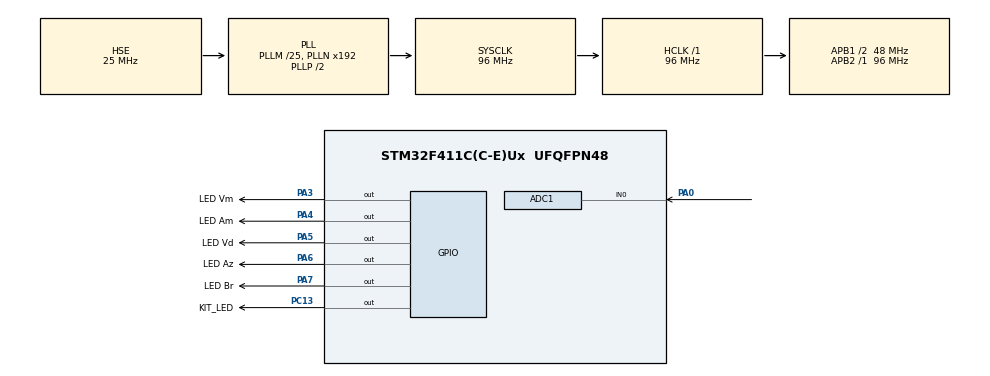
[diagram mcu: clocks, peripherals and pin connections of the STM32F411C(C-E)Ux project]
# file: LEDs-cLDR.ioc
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ADC1.Channel-1\#ChannelRegularConversion=ADC_CHANNEL_0
ADC1.NbrOfConversionFlag=1
ADC1.Rank-1\#ChannelRegularConversion=1
ADC1.SamplingTime-1\#ChannelRegularConversion=ADC_SAMPLETIME_3CYCLES
ADC1.master=1
Mcu.Family=STM32F4
Mcu.Name=STM32F411C(C-E)Ux
Mcu.Package=UFQFPN48
NVIC.PriorityGroup=NVIC_PRIORITYGROUP_4
PA0-WKUP.Signal=ADCx_IN0
PA13.Mode=Serial_Wire
PA13.Signal=SYS_JTMS-SWDIO
PA14.Mode=Serial_Wire
PA14.Signal=SYS_JTCK-SWCLK
PA3.GPIO_Label=LED Vm
PA3.Signal=GPIO_Output
PA4.GPIO_Label=LED Am
PA4.Signal=GPIO_Output
PA5.GPIO_Label=LED Vd
PA5.Signal=GPIO_Output
PA6.GPIO_Label=LED Az
PA6.Signal=GPIO_Output
PA7.GPIO_Label=LED Br
PA7.Signal=GPIO_Output
PC13-ANTI_TAMP.GPIO_Label=KIT_LED
PC13-ANTI_TAMP.Signal=GPIO_Output
PC14-OSC32_IN.Mode=LSE-External-Oscillator
PC14-OSC32_IN.Signal=RCC_OSC32_IN
PC15-OSC32_OUT.Mode=LSE-External-Oscillator
PC15-OSC32_OUT.Signal=RCC_OSC32_OUT
PH0\ -\ OSC_IN.Mode=HSE-External-Oscillator
PH0\ -\ OSC_IN.Signal=RCC_OSC_IN
PH1\ -\ OSC_OUT.Mode=HSE-External-Oscillator
PH1\ -\ OSC_OUT.Signal=RCC_OSC_OUT
ProjectManager.HeapSize=0x200
ProjectManager.StackSize=0x400
ProjectManager.TargetToolchain=Makefile
RCC.48MHZClocksFreq_Value=48000000
RCC.AHBFreq_Value=96000000
RCC.APB1CLKDivider=RCC_HCLK_DIV2
RCC.APB1Freq_Value=48000000
RCC.APB1TimFreq_Value=96000000
RCC.APB2Freq_Value=96000000
RCC.APB2TimFreq_Value=96000000
RCC.CortexFreq_Value=96000000
RCC.HCLKFreq_Value=96000000
RCC.HSE_VALUE=25000000
RCC.HSI_VALUE=16000000
RCC.PLLM=25
RCC.PLLSourceVirtual=RCC_PLLSOURCE_HSE
RCC.SYSCLKFreq_VALUE=96000000
RCC.SYSCLKSource=RCC_SYSCLKSOURCE_PLLCLK
RCC.VCOOutputFreq_Value=192000000
SH.ADCx_IN0.0=ADC1_IN0,IN0
board=custom

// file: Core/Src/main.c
/* USER CODE BEGIN Header */
/**
  ******************************************************************************
  * @file           : main.c
  * @brief          : Main program body
  ******************************************************************************
  * @attention
  *
  * Copyright (c) 2022 STMicroelectronics.
  * All rights reserved.
  *
  * This software is licensed under terms that can be found in the LICENSE file
  * in the root directory of this software component.
  * If no LICENSE file comes with this software, it is provided AS-IS.
  *
  ******************************************************************************
  */
/* USER CODE END Header */
#include "main.h"

/* USER CODE BEGIN Includes */
#include "button.h"
/* USER CODE END Includes */

ADC_HandleTypeDef hadc1;

/* USER CODE BEGIN PV */
int8_t conta_led = 0;
int16_t leitura_adc = 0;
const int8_t apaga = 0, ascende = 1, qtde_leds = 5;
const int16_t adc_min = 1191, adc_max = 1515;
/* USER CODE END PV */

void SystemClock_Config(void);
static void MX_GPIO_Init(void);
static void MX_ADC1_Init(void);

int main(void)
{

  /* MCU Configuration--------------------------------------------------------*/

  /* Reset of all peripherals, Initializes the Flash interface and the Systick. */
  HAL_Init();

  /* Configure the system clock */
  SystemClock_Config();

  /* Initialize all configured peripherals */
  MX_GPIO_Init();
  MX_ADC1_Init();

  /* Infinite loop */
  /* USER CODE BEGIN WHILE */
  while (1)
  {
    HAL_ADC_Start(&hadc1); // Inicia a conversão AD
    HAL_ADC_PollForConversion(&hadc1, 100); // Aguarda a conversão completar (timeout 100ms)
    leitura_adc = HAL_ADC_GetValue(&hadc1); // Lê o valor convertido (0-4095)

    /*
    Calculo do circuito divisor de tensão para o LDR:
    RLDR varia de ~ 35 kOhms (luz) a ~70 kOhms (escuro)
    R1= sqrt(RLDR_min*RLDR_max) = 50 kOhms
    R1 = 50 kOhms
    R_th_max = R1xRLDR/(R1+RLDR) = 20,6 kOhms
    R_th_min = R1xRHDR/(R1+RHDR) = 29,2 kOhms
    V_th_max = Vcc*R_th_max/(R_th_max+R1) = 0,96V  (considerando Vcc = 3.3V)
    V_th_min = Vcc*R_th_min/(R_th_min+R1) = 1,22V
    adc_min = 0,96*4095/3.3 = 1191
    adc_max = 1,22*4095/3.3 = 1515
    */

    // Calcula quantos LEDs devem ser acesos conforme a leitura do ADC
    conta_led = ((leitura_adc - adc_min) / (adc_max - adc_min)); // ((leitura_adc - 1191) / 324);
    // Tecnicamente a leitura permitiria ascender de 0 a 8 LEDs devida às condições de configurações iniciais,
    // Configurado em ambiente mais escuro, sem aplicar luz direta no LDR, o que limita a faixa de leitura.
    // Em resumo, ao realizar a configuração na nova instalação, mudar levemente a logica para abranger toda a faixa desejada.

    // Desliga todos os LEDs para poder atualizar (Senão permancem acesos mesmo não satisfazendo mais as condições)
    HAL_GPIO_WritePin(GPIOA, LED_Vm_Pin | LED_Am_Pin | LED_Vd_Pin | LED_Az_Pin | LED_Br_Pin, apaga);

    // Acende LEDs conforme a intensidade (de forma crescente) usando (qtde_leds - (qtde_leds_apagados-led_atual))
    // essa abordagem no entanto, implicaria em ifs de duas ou mais linhas em cada condição,
    // portanto optou-se por fazer desta forma para manter o código mais compacto e legível.
    if (conta_led >= (qtde_leds - 4)) HAL_GPIO_WritePin(GPIOA, LED_Vm_Pin, ascende);
    if (conta_led >= (qtde_leds - 3)) HAL_GPIO_WritePin(GPIOA, LED_Am_Pin, ascende);
    if (conta_led >= (qtde_leds - 2)) HAL_GPIO_WritePin(GPIOA, LED_Vd_Pin, ascende);
    if (conta_led >= (qtde_leds - 1)) HAL_GPIO_WritePin(GPIOA, LED_Az_Pin, ascende);
    if (conta_led >= (qtde_leds - 0)) HAL_GPIO_WritePin(GPIOA, LED_Br_Pin, ascende);

    HAL_Delay(50); // Faz com que a leitura seja a cada 50ms

    /* USER CODE END WHILE */

  }
}

void SystemClock_Config(void)
{
  RCC_OscInitTypeDef RCC_OscInitStruct = {0};
  RCC_ClkInitTypeDef RCC_ClkInitStruct = {0};

  /** Configure the main internal regulator output voltage
  */
  __HAL_RCC_PWR_CLK_ENABLE();
  __HAL_PWR_VOLTAGESCALING_CONFIG(PWR_REGULATOR_VOLTAGE_SCALE1);

  /** Initializes the RCC Oscillators according to the specified parameters
  * in the RCC_OscInitTypeDef structure.
  */
  RCC_OscInitStruct.OscillatorType = RCC_OSCILLATORTYPE_HSE;
  RCC_OscInitStruct.HSEState = RCC_HSE_ON;
  RCC_OscInitStruct.PLL.PLLState = RCC_PLL_ON;
  RCC_OscInitStruct.PLL.PLLSource = RCC_PLLSOURCE_HSE;
  RCC_OscInitStruct.PLL.PLLM = 25;
  RCC_OscInitStruct.PLL.PLLN = 192;
  RCC_OscInitStruct.PLL.PLLP = RCC_PLLP_DIV2;
  RCC_OscInitStruct.PLL.PLLQ = 4;
  if (HAL_RCC_OscConfig(&RCC_OscInitStruct) != HAL_OK)
  {
    Error_Handler();
  }

  /** Initializes the CPU, AHB and APB buses clocks
  */
  RCC_ClkInitStruct.ClockType = RCC_CLOCKTYPE_HCLK|RCC_CLOCKTYPE_SYSCLK
                              |RCC_CLOCKTYPE_PCLK1|RCC_CLOCKTYPE_PCLK2;
  RCC_ClkInitStruct.SYSCLKSource = RCC_SYSCLKSOURCE_PLLCLK;
  RCC_ClkInitStruct.AHBCLKDivider = RCC_SYSCLK_DIV1;
  RCC_ClkInitStruct.APB1CLKDivider = RCC_HCLK_DIV2;
  RCC_ClkInitStruct.APB2CLKDivider = RCC_HCLK_DIV1;

  if (HAL_RCC_ClockConfig(&RCC_ClkInitStruct, FLASH_LATENCY_3) != HAL_OK)
  {
    Error_Handler();
  }
}

static void MX_ADC1_Init(void)
{

  ADC_ChannelConfTypeDef sConfig = {0};

  /** Configure the global features of the ADC (Clock, Resolution, Data Alignment and number of conversion)
  */
  hadc1.Instance = ADC1;
  hadc1.Init.ClockPrescaler = ADC_CLOCK_SYNC_PCLK_DIV4;
  hadc1.Init.Resolution = ADC_RESOLUTION_12B;
  hadc1.Init.ScanConvMode = DISABLE;
  hadc1.Init.ContinuousConvMode = DISABLE;
  hadc1.Init.DiscontinuousConvMode = DISABLE;
  hadc1.Init.ExternalTrigConvEdge = ADC_EXTERNALTRIGCONVEDGE_NONE;
  hadc1.Init.ExternalTrigConv = ADC_SOFTWARE_START;
  hadc1.Init.DataAlign = ADC_DATAALIGN_RIGHT;
  hadc1.Init.NbrOfConversion = 1;
  hadc1.Init.DMAContinuousRequests = DISABLE;
  hadc1.Init.EOCSelection = ADC_EOC_SINGLE_CONV;
  if (HAL_ADC_Init(&hadc1) != HAL_OK)
  {
    Error_Handler();
  }

  /** Configure for the selected ADC regular channel its corresponding rank in the sequencer and its sample time.
  */
  sConfig.Channel = ADC_CHANNEL_0;
  sConfig.Rank = 1;
  sConfig.SamplingTime = ADC_SAMPLETIME_3CYCLES;
  if (HAL_ADC_ConfigChannel(&hadc1, &sConfig) != HAL_OK)
  {
    Error_Handler();
  }

}

static void MX_GPIO_Init(void)
{
  GPIO_InitTypeDef GPIO_InitStruct = {0};

  /* GPIO Ports Clock Enable */
  __HAL_RCC_GPIOC_CLK_ENABLE();
  __HAL_RCC_GPIOH_CLK_ENABLE();
  __HAL_RCC_GPIOA_CLK_ENABLE();

  /*Configure GPIO pin Output Level */
  HAL_GPIO_WritePin(KIT_LED_GPIO_Port, KIT_LED_Pin, GPIO_PIN_RESET);

  /*Configure GPIO pin Output Level */
  HAL_GPIO_WritePin(GPIOA, LED_Vm_Pin|LED_Am_Pin|LED_Vd_Pin|LED_Az_Pin
                          |LED_Br_Pin, GPIO_PIN_RESET);

  /*Configure GPIO pin : KIT_LED_Pin */
  GPIO_InitStruct.Pin = KIT_LED_Pin;
  GPIO_InitStruct.Mode = GPIO_MODE_OUTPUT_PP;
  GPIO_InitStruct.Pull = GPIO_NOPULL;
  GPIO_InitStruct.Speed = GPIO_SPEED_FREQ_LOW;
  HAL_GPIO_Init(KIT_LED_GPIO_Port, &GPIO_InitStruct);

  /*Configure GPIO pins : LED_Vm_Pin LED_Am_Pin LED_Vd_Pin LED_Az_Pin
                           LED_Br_Pin */
  GPIO_InitStruct.Pin = LED_Vm_Pin|LED_Am_Pin|LED_Vd_Pin|LED_Az_Pin
                          |LED_Br_Pin;
  GPIO_InitStruct.Mode = GPIO_MODE_OUTPUT_PP;
  GPIO_InitStruct.Pull = GPIO_NOPULL;
  GPIO_InitStruct.Speed = GPIO_SPEED_FREQ_LOW;
  HAL_GPIO_Init(GPIOA, &GPIO_InitStruct);

}

void Error_Handler(void)
{
  __disable_irq();
  while (1)
  {
  }
}
